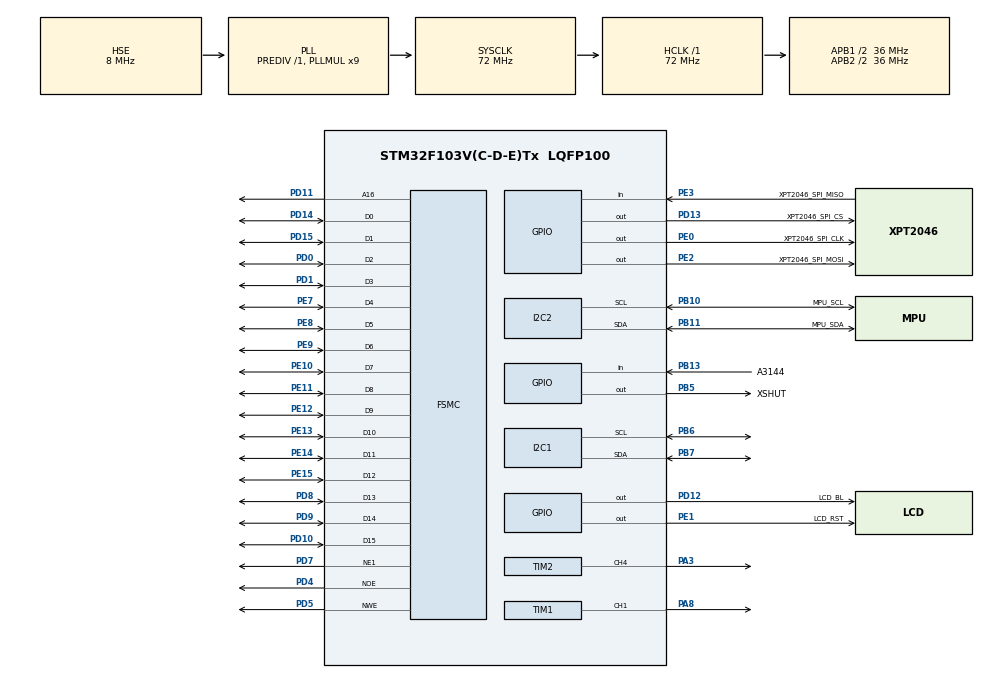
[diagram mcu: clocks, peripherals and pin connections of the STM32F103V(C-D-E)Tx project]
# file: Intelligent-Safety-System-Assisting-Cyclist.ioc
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Dma.Request0=TIM1_CH1
Dma.Request1=TIM2_CH2/CH4
Dma.TIM1_CH1.0.Direction=DMA_MEMORY_TO_PERIPH
Dma.TIM1_CH1.0.Instance=DMA1_Channel2
Dma.TIM1_CH1.0.MemDataAlignment=DMA_MDATAALIGN_HALFWORD
Dma.TIM1_CH1.0.MemInc=DMA_MINC_ENABLE
Dma.TIM1_CH1.0.Mode=DMA_NORMAL
Dma.TIM1_CH1.0.PeriphDataAlignment=DMA_PDATAALIGN_HALFWORD
Dma.TIM1_CH1.0.PeriphInc=DMA_PINC_DISABLE
Dma.TIM1_CH1.0.Priority=DMA_PRIORITY_LOW
Dma.TIM2_CH2/CH4.1.Direction=DMA_MEMORY_TO_PERIPH
Dma.TIM2_CH2/CH4.1.Instance=DMA1_Channel7
Dma.TIM2_CH2/CH4.1.MemDataAlignment=DMA_MDATAALIGN_HALFWORD
Dma.TIM2_CH2/CH4.1.MemInc=DMA_MINC_ENABLE
Dma.TIM2_CH2/CH4.1.Mode=DMA_NORMAL
Dma.TIM2_CH2/CH4.1.PeriphDataAlignment=DMA_PDATAALIGN_HALFWORD
Dma.TIM2_CH2/CH4.1.PeriphInc=DMA_PINC_DISABLE
Dma.TIM2_CH2/CH4.1.Priority=DMA_PRIORITY_LOW
FSMC.AddressSetupTime1=0
FSMC.BusTurnAroundDuration1=0
FSMC.DataSetupTime1=26
FSMC.ExtendedAddressSetupTime1=0
FSMC.ExtendedBusTurnAroundDuration1=0
FSMC.ExtendedDataSetupTime1=1
FSMC.ExtendedMode1=FSMC_EXTENDED_MODE_ENABLE
Mcu.Family=STM32F1
Mcu.Name=STM32F103V(C-D-E)Tx
Mcu.Package=LQFP100
NVIC.DMA1_Channel2_IRQn=true\:0\:0\:false\:false\:true\:false\:true\:true
NVIC.DMA1_Channel7_IRQn=true\:0\:0\:false\:false\:true\:false\:true\:true
NVIC.PriorityGroup=NVIC_PRIORITYGROUP_4
NVIC.TIM3_IRQn=true\:0\:0\:false\:false\:true\:true\:true\:true
OSC_IN.Mode=HSE-External-Oscillator
OSC_IN.Signal=RCC_OSC_IN
OSC_OUT.Mode=HSE-External-Oscillator
OSC_OUT.Signal=RCC_OSC_OUT
PA13.Mode=Serial_Wire
PA13.Signal=SYS_JTMS-SWDIO
PA14.Mode=Serial_Wire
PA14.Signal=SYS_JTCK-SWCLK
PA3.GPIO_ModeDefaultPP=GPIO_MODE_AF_PP
PA3.GPIO_Speed=GPIO_SPEED_FREQ_HIGH
PA3.Signal=S_TIM2_CH4
PA8.Signal=S_TIM1_CH1
PB10.GPIO_Label=MPU_SCL
PB10.Mode=I2C
PB10.Signal=I2C2_SCL
PB11.GPIO_Label=MPU_SDA
PB11.Mode=I2C
PB11.Signal=I2C2_SDA
PB13.GPIO_Label=A3144
PB13.Signal=GPIO_Input
PB5.GPIO_Label=XSHUT
PB5.GPIO_Speed=GPIO_SPEED_FREQ_LOW
PB5.Signal=GPIO_Output
PB6.Mode=I2C
PB6.Signal=I2C1_SCL
PB7.Mode=I2C
PB7.Signal=I2C1_SDA
PC14-OSC32_IN.Mode=LSE-External-Oscillator
PC14-OSC32_IN.Signal=RCC_OSC32_IN
PC15-OSC32_OUT.Mode=LSE-External-Oscillator
PC15-OSC32_OUT.Signal=RCC_OSC32_OUT
PD0.Mode=16b-d1
PD0.Signal=FSMC_D2
PD1.Mode=16b-d1
PD1.Signal=FSMC_D3
PD10.Mode=16b-d1
PD10.Signal=FSMC_D15
PD11.Mode=A16_1
PD11.Signal=FSMC_A16
PD12.GPIO_Label=LCD_BL
PD12.GPIO_Speed=GPIO_SPEED_FREQ_HIGH
PD12.Signal=GPIO_Output
PD13.GPIO_Label=XPT2046_SPI_CS
PD13.GPIO_Speed=GPIO_SPEED_FREQ_HIGH
PD13.Signal=GPIO_Output
PD14.Mode=16b-d1
PD14.Signal=FSMC_D0
PD15.Mode=16b-d1
PD15.Signal=FSMC_D1
PD4.Mode=Lcd1
PD4.Signal=FSMC_NOE
PD5.Mode=Lcd1
PD5.Signal=FSMC_NWE
PD7.Mode=NorPsramChipSelect1_1
PD7.Signal=FSMC_NE1
PD8.Mode=16b-d1
PD8.Signal=FSMC_D13
PD9.Mode=16b-d1
PD9.Signal=FSMC_D14
PE0.GPIO_Label=XPT2046_SPI_CLK
PE0.GPIO_Speed=GPIO_SPEED_FREQ_HIGH
PE0.PinState=GPIO_PIN_SET
PE0.Signal=GPIO_Output
PE1.GPIO_Label=LCD_RST
PE1.GPIO_Speed=GPIO_SPEED_FREQ_HIGH
PE1.Signal=GPIO_Output
PE10.Mode=16b-d1
PE10.Signal=FSMC_D7
PE11.Mode=16b-d1
PE11.Signal=FSMC_D8
PE12.Mode=16b-d1
PE12.Signal=FSMC_D9
PE13.Mode=16b-d1
PE13.Signal=FSMC_D10
PE14.Mode=16b-d1
PE14.Signal=FSMC_D11
PE15.Mode=16b-d1
PE15.Signal=FSMC_D12
PE2.GPIO_Label=XPT2046_SPI_MOSI
PE2.GPIO_Speed=GPIO_SPEED_FREQ_HIGH
PE2.Signal=GPIO_Output
PE3.GPIO_Label=XPT2046_SPI_MISO
PE3.GPIO_PuPd=GPIO_PULLUP
PE3.Signal=GPIO_Input
PE7.Mode=16b-d1
PE7.Signal=FSMC_D4
PE8.Mode=16b-d1
PE8.Signal=FSMC_D5
PE9.Mode=16b-d1
PE9.Signal=FSMC_D6
ProjectManager.HeapSize=0x200
ProjectManager.StackSize=0x400
ProjectManager.TargetToolchain=STM32CubeIDE
RCC.AHBFreq_Value=72000000
RCC.APB1CLKDivider=RCC_HCLK_DIV2
RCC.APB1Freq_Value=36000000
RCC.APB1TimFreq_Value=72000000
RCC.APB2CLKDivider=RCC_HCLK_DIV2
RCC.APB2Freq_Value=36000000
RCC.APB2TimFreq_Value=72000000
RCC.HCLKFreq_Value=72000000
RCC.PLLMUL=RCC_PLL_MUL9
RCC.PLLSourceVirtual=RCC_PLLSOURCE_HSE
RCC.SYSCLKFreq_VALUE=72000000
RCC.SYSCLKSource=RCC_SYSCLKSOURCE_PLLCLK
RCC.USBFreq_Value=72000000
SH.S_TIM1_CH1.0=TIM1_CH1,PWM Generation1 CH1
SH.S_TIM2_CH4.0=TIM2_CH4,PWM Generation4 CH4
TIM1.Channel-PWM\ Generation1\ CH1=TIM_CHANNEL_1
TIM1.Period=72-1
TIM2.Channel-PWM\ Generation4\ CH4=TIM_CHANNEL_4
TIM2.OCFastMode_PWM-PWM\ Generation4\ CH4=TIM_OCFAST_ENABLE
TIM2.Period=89
TIM3.AutoReloadPreload=TIM_AUTORELOAD_PRELOAD_ENABLE
TIM3.Period=999
TIM3.Prescaler=71
VP_TIM1_VS_ClockSourceINT.Mode=Internal
VP_TIM2_VS_ClockSourceINT.Mode=Internal
VP_TIM3_VS_ClockSourceINT.Mode=Internal
board=custom

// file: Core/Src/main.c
/* USER CODE BEGIN Header */
/**
  ******************************************************************************
  * @file           : main.c
  * @brief          : Main program body
  ******************************************************************************
  * @attention
  *
  * Copyright (c) 2022 STMicroelectronics.
  * All rights reserved.
  *
  * This software is licensed under terms that can be found in the LICENSE file
  * in the root directory of this software component.
  * If no LICENSE file comes with this software, it is provided AS-IS.
  *
  ******************************************************************************
  */
/* USER CODE END Header */
#include "main.h"

/* USER CODE BEGIN Includes */
#include "lcdtp.h"
#include "xpt2046.h"

#include "math.h"
#include <stdio.h>
#include "stdbool.h"

#include "MPU6050.h"
#include "a3144.h"
#include "vl53l1_api.h"

/* USER CODE END Includes */

 I2C_HandleTypeDef hi2c1;
I2C_HandleTypeDef hi2c2;

TIM_HandleTypeDef htim1;
TIM_HandleTypeDef htim2;
TIM_HandleTypeDef htim3;
DMA_HandleTypeDef hdma_tim1_ch1;
DMA_HandleTypeDef hdma_tim2_ch2_ch4;

SRAM_HandleTypeDef hsram1;

/* USER CODE BEGIN PV */
//#define EXPANDER_1_ADDR 0x84 // 0x42 << 1
//#define EXPANDER_2_ADDR 0x86 // 0x43 << 1HAL_I2C_Master_Transmit
/* USER CODE END PV */

void SystemClock_Config(void);
static void MX_GPIO_Init(void);
static void MX_FSMC_Init(void);
static void MX_DMA_Init(void);
static void MX_I2C2_Init(void);
static void MX_TIM1_Init(void);
static void MX_TIM3_Init(void);
static void MX_I2C1_Init(void);
static void MX_TIM2_Init(void);

/* USER CODE BEGIN 0 */

// LED Parameters:
#define MAX_LED 14
#define USE_BRIGHTNESS 0

uint8_t LED_Data[MAX_LED][4];
uint8_t LED_Mod[MAX_LED][4];  // for brightness

int datasentflag=0;

// :ED Function callbacks

void HAL_TIM_PWM_PulseFinishedCallback(TIM_HandleTypeDef *htim)
{
	HAL_TIM_PWM_Stop_DMA(&htim2, TIM_CHANNEL_4);
	datasentflag=1;
}

void Set_LED (int LEDnum, int Red, int Green, int Blue)
{
	LED_Data[LEDnum][0] = LEDnum;
	LED_Data[LEDnum][1] = Green;
	LED_Data[LEDnum][2] = Red;
	LED_Data[LEDnum][3] = Blue;
}

#define PI 3.14159265

void Set_Brightness (int brightness)  // 0-45
{
#if USE_BRIGHTNESS

	if (brightness > 45) brightness = 45;
	for (int i=0; i<MAX_LED; i++)
	{
		LED_Mod[i][0] = LED_Data[i][0];
		for (int j=1; j<4; j++)
		{
			float angle = 90-brightness;  // in degrees
			angle = angle*PI / 180;  // in rad
			LED_Mod[i][j] = (LED_Data[i][j])/(tan(angle));
		}
	}

#endif

}

uint16_t pwmData[(24*MAX_LED)+50];

void WS2812_Send (void)
{
	uint32_t indx=0;
	uint32_t color;

	for (int i= 0; i<MAX_LED; i++)
	{
#if USE_BRIGHTNESS
		color = ((LED_Mod[i][1]<<16) | (LED_Mod[i][2]<<8) | (LED_Mod[i][3]));
#else
		color = ((LED_Data[i][1]<<16) | (LED_Data[i][2]<<8) | (LED_Data[i][3]));
#endif

		for (int i=23; i>=0; i--)
		{
			if (color&(1<<i))
			{
				pwmData[indx] = 60;  // 2/3 of 90
			}

			else pwmData[indx] = 30;  // 1/3 of 90

			indx++;
		}

	}

	for (int i=0; i<50; i++)
	{
		pwmData[indx] = 0;
		indx++;
	}

	HAL_TIM_PWM_Start_DMA(&htim2, TIM_CHANNEL_4, (uint32_t *)pwmData, indx);
	while (!datasentflag){};
	datasentflag = 0;
}

void Reset_LED (void)
{
	for (int i=0; i<MAX_LED; i++)
	{
		LED_Data[i][0] = i;
		LED_Data[i][1] = 0;
		LED_Data[i][2] = 0;
		LED_Data[i][3] = 0;
	}
}

uint16_t effStep = 0;

void setTailligght (int light, int R, int G, int B, int bright){
	  // Tail light
	  Set_LED(light, R, G, B);
	  Set_Brightness(bright);
	  WS2812_Send();
	  HAL_Delay(10);
	  // Tail light
}

// End LED

//void HAL_GPIO_EXTI_Callback(uint16_t GPIO_Pin)
//{
//	if (GPIO_Pin==VL53L1X_INT_Pin)
//	{
//		IntCount++;
//	}
//}
/* USER CODE END 0 */

int main(void)
{
  /* USER CODE BEGIN 1 */
	// VL53L1X variable references
	uint8_t buff[50];
	VL53L1_RangingMeasurementData_t RangingData;
	VL53L1_Dev_t  vl53l1_c; // center module
	VL53L1_DEV    Dev = &vl53l1_c;

  /* USER CODE END 1 */

  /* MCU Configuration--------------------------------------------------------*/

  /* Reset of all peripherals, Initializes the Flash interface and the Systick. */
  HAL_Init();

  /* Configure the system clock */
  SystemClock_Config();

  /* Initialize all configured peripherals */
  MX_GPIO_Init();
  MX_FSMC_Init();
  MX_DMA_Init();
  MX_I2C2_Init();
  MX_TIM1_Init();
  MX_TIM3_Init();
  MX_I2C1_Init();
  MX_TIM2_Init();
  /* USER CODE BEGIN 2 */

  // LCD Screen init
  LCD_INIT();

  // Init VL53L1X ToF
  Dev->I2cHandle = &hi2c2;
  Dev->I2cDevAddr = 0x52;

  HAL_GPIO_WritePin(XSHUT_GPIO_Port, XSHUT_Pin, GPIO_PIN_RESET);
  HAL_Delay(2); // 2ms reset time
  HAL_GPIO_WritePin(XSHUT_GPIO_Port, XSHUT_Pin, GPIO_PIN_SET);
  HAL_Delay(2);

  //  /*-[ I2C Bus Scanning ]-*/
      uint8_t i=0, ret;
      char text[100];
      for(i=1; i<128; i++)
      {
          ret = HAL_I2C_IsDeviceReady(&hi2c2, (uint16_t)(i<<1), 3, 5);
          if (ret != HAL_OK) /* No ACK Received At That Address */
          {
        	  LCD_DrawString(105, 125, "Loading........");
        	  Delay(10000);
        	  //println(&huart1,text);
          }
          else if(ret == HAL_OK)
          {
        	  sprintf(text, "Address: %x", i << 1);
        	  if (i == 0x40){
        		  LCD_DrawString(105, 125, "VL53L1X ToF port");
        	  }
        	  if (i == 103){
        		  LCD_DrawString(105, 125, "MPU6050     port");
        	  }
        	  LCD_DrawString(85, 125, text);
        	  Delay(10000000);
          }
      }

      Delay(10000);
//  /*** Initialize GPIO expanders ***/
////  // Unused GPIO should be configured as outputs to minimize the power consumption
//  buff[0] = 0x14; // GPDR (GPIO set direction register)
//  buff[1] = 0xFF; // GPIO_0 - GPIO_7
//  buff[2] = 0xFF; // GPIO_8 - GPIO_15
//  HAL_I2C_Master_Transmit( &hi2c1, EXPANDER_1_ADDR, buff, 3, 0xFFFF );
//  HAL_I2C_Master_Transmit( &hi2c1, EXPANDER_2_ADDR, buff, 3, 0xFFFF );
//
//  // clear XSHUT (disable center module) -> expander 1, GPIO_15
//  buff[0] = 0x13; // GPSR + 1 ( GPIO set pin state register)
//  HAL_I2C_Master_Transmit( &hi2c1, EXPANDER_1_ADDR, buff, 1, 0xFFFF );
//  HAL_I2C_Master_Receive( &hi2c1, EXPANDER_1_ADDR, buff, 1, 0xFFFF );
//  buff[1] = buff[0] & ~( 1 << ( 15 - 8 ) ); // clear GPIO_15
//  buff[0] = 0x13; // GPSR + 1 ( GPIO set pin state register)
//  HAL_I2C_Master_Transmit( &hi2c1, EXPANDER_1_ADDR, buff, 2, 0xFFFF );
//
//  HAL_Delay( 2 ); // 2ms reset time
//
//  // set XSHUT (enable center module) -> expander 1, GPIO_15
//  buff[0] = 0x13; // GPSR + 1 ( GPIO set pin state)
//  HAL_I2C_Master_Transmit( &hi2c1, EXPANDER_1_ADDR, buff, 1, 0xFFFF );
//  HAL_I2C_Master_Receive( &hi2c1, EXPANDER_1_ADDR, buff, 1, 0xFFFF );
//  buff[1] = buff[0] | ( 1 << ( 15 - 8 ) ); // set GPIO_15
//  buff[0] = 0x13; // GPSR + 1 ( GPIO set pin state register)
//  HAL_I2C_Master_Transmit( &hi2c1, EXPANDER_1_ADDR, buff, 2, 0xFFFF );

  HAL_Delay( 2 );
  VL53L1_WaitDeviceBooted( Dev );
  VL53L1_DataInit( Dev );
  VL53L1_StaticInit( Dev );
  VL53L1_SetDistanceMode( Dev, VL53L1_DISTANCEMODE_LONG );
  VL53L1_SetMeasurementTimingBudgetMicroSeconds( Dev, 50000 );
  VL53L1_SetInterMeasurementPeriodMilliSeconds( Dev, 500 );
  VL53L1_StartMeasurement( Dev );

  // End VL53L1X init

  // MPU6050 Init

  MPU6050_Initialize(&hi2c2);
  MPU6050_SetScaleAccelRange(&hi2c2, MPU6050_ACCEL_RANGE_8_G);
  MPU6050_SetScaleGyroRange(&hi2c2, MPU6050_GYRO_RANGE_2000_DEG);

  // MPU6050 Init end

  macXPT2046_CS_DISABLE();
//  __HAL_RCC_I2C2_CLK_DISABLE();
//  __HAL_RCC_FSMC_CLK_ENABLE();

//  LCD_INIT();

   Delay(100000);

  LCD_Clear (50, 80, 140, 70, RED);
  LCD_DrawString(65, 105, "  ISSAC  DEMO ");
  HAL_Delay(1000);

  //Touchscreen calibration

  while( ! XPT2046_Touch_Calibrate () );

  LCD_GramScan ( 1 );
  LCD_Clear ( 0, 0, 240, 320, WHITE );
  LCD_Clear ( 90,  282,  60, 60, BLUE	);
  LCD_Clear ( 0,  282,  95, 38,  YELLOW);
  LCD_Clear ( 150,  282,  95, 38, YELLOW);
 // LCD_DrawString(20, 280, "Turn Left");

  //Button UI
  LCD_DrawString_Color (35, 285, "<---", YELLOW, BLACK );
  LCD_DrawString_Color (170, 285, "--->", YELLOW, BLACK );

  LCD_DrawEllipse ( 120, 100, 40, 20, RED);
  char buf[9];
//  char text[10];

  // MPU variables
  float Ax, Ay, Az;
//  float Gx, Gy, Gz;

  strType_XPT2046_Coordinate touchCoordinate[4];
  int touchFlag = 0;
  int SafetyStatus = 0;	// 0: Save, 1: Caution, 2: Response needed, 3: Danger

  /*
   * Init of RPM Counter with timer and A3144 Hall effect sensor
   * */
  a3144_Init();
  float rotSpeed = 0;
  float rpm = 0;
  float tempSpeed = 0;
  int Rangecount = 0;

  // Reset Previus Tail lights
  Reset_LED();
  WS2812_Send();
  /* USER CODE END 2 */

  /* Infinite loop */
  while (1)
  {

    /* USER CODE BEGIN 3 */
	  MPU6050_Read_Gyro(&hi2c2);
	  MPU6050_Read_Accel(&hi2c2);

	  Ax = MPU6050_Ax;
	  Ay = MPU6050_Ay;
	  Az = MPU6050_Az;

//	  Gx = MPU6050_Gx;
//	  Gy = MPU6050_Gy;
//	  Gz = MPU6050_Gz;

	  if (Ay < -0.4){
	 		  LCD_DrawString(80, 140, "Pitch Down");
	 	  } else if (Ay > 0.4){
	 		  LCD_DrawString(80, 140, " Pitch up ");
	 	  } else{
	 		  LCD_DrawString(80, 140, "No Pitch  ");
	 	  }

	 	  if (Ax < -0.5){
	 		  LCD_DrawString(90, 160, " Right ");
	 	  } else if (Ax > 0.5){
	 		  LCD_DrawString(90, 160, " Left ");
	 	  }	else{
	 		  LCD_DrawString(90, 160, " Still ");
	 	  }

	 	  if (Az < 0) {
	 		  LCD_DrawString_Color(90, 180, " Crash?? ", RED, BLACK);
	 		  for (int i =0; i < 14; i++){
	 			 setTailligght(i, 255, 0, 0, 10);
	 		  }
	 		  SafetyStatus = 2;
	 	  }

	 	  HAL_Delay(200);

	 	  if ( touchFlag == 0 )
	 	  {
	 		  if ( XPT2046_Get_TouchedPoint ( & touchCoordinate, & strXPT2046_TouchPara ) )
	 		  {
	 			  if ( ( touchCoordinate->y > 282 ) && ( touchCoordinate->y < 400) )
	 			  {
	 				  if ( ( touchCoordinate->x > 95 ) && ( touchCoordinate->x < 145 ) )
	 				  {
	 					  LCD_DrawString(71, 200, "     Reset    ");
	 					  SafetyStatus = 0;
	 					  LCD_Clear(90, 180, 90, 20, WHITE);
	 					  LCD_Clear(70, 200, 90, 20, WHITE);
	 					  Reset_LED();
	 					  WS2812_Send();
	 					  Rangecount = 0;
	 				  }

	 				  if (touchCoordinate->x < 90)
	 				  {
	 					  SafetyStatus = 1;
	 					  LCD_DrawString(71, 200, "Turning Left! ");
	 					  setTailligght(0, 255, 255, 0, 10);
	 					  setTailligght(1, 255, 255, 0, 10);
	 					  setTailligght(2, 255, 255, 0, 10);
	 				  }

	 				  if (touchCoordinate->x > 150)
	 				  {
	 					  SafetyStatus = 1;
	 					  LCD_DrawString(71, 200, "Turning Right!");
	 					  setTailligght(11, 255, 255, 0, 10);
	 					  setTailligght(12, 255, 255, 0, 10);
	 					  setTailligght(13, 255, 255, 0, 10);
	 				  }
	 			  }

	 		  }
	 		  touchFlag = 1;
	 	  }
	 	  else {
	 //		  LCD_DrawString(70, 200, "..............");
	 		  touchFlag = 0;
	 	  }
	 	  HAL_Delay(50);

		  rpm = GetRotationSpeed(); // RPM not speed
		  if (rpm < 1){
			  rpm = 0;
		  }
		  sprintf(buf, "%0.2f RPM", rpm);
		  LCD_DrawString(90, 90, buf);

		  rotSpeed = rpm * 0.737 * 3.14 / 60;
		  sprintf(buf, "%0.2f m/s", rotSpeed);
		  LCD_DrawString(90, 120, buf);

		  if (tempSpeed > rotSpeed * 0.6){
			  setTailligght(4, 255, 0, 0, 10);
			  setTailligght(5, 255, 0, 0, 10);
			  setTailligght(6, 255, 0, 0, 10);
			  setTailligght(7, 255, 0, 0, 10);
			  setTailligght(8, 255, 0, 0, 10);
			  setTailligght(9, 255, 0, 0, 10);
			  setTailligght(10, 255, 0, 0, 10);
		  }
		  else {
			  setTailligght(4, 0, 0, 0, 1);
			  setTailligght(5, 0, 0, 0, 1);
			  setTailligght(6, 0, 0, 0, 1);
			  setTailligght(7, 0, 0, 0, 1);
			  setTailligght(8, 0, 0, 0, 1);
			  setTailligght(9, 0, 0, 0, 1);
			  setTailligght(10, 0, 0, 0, 1);
		  }

		  tempSpeed = rotSpeed;

		  // Get Distance Sensor Data
		  VL53L1_WaitMeasurementDataReady( Dev );

		  VL53L1_GetRangingMeasurementData( Dev, &RangingData );

		  if(RangingData.RangeMilliMeter < 2000){
			  Rangecount++;
			  if(Rangecount == 3){
				  LCD_DrawString_Color (80, 200, "REAR ALERT!!", RED, BLACK );
				  Rangecount = 0;
			  }
		  }
		  else if(RangingData.RangeMilliMeter > 2000){
			  Rangecount = 0;
		  }

		  VL53L1_ClearInterruptAndStartMeasurement( Dev );
  }

  /* USER CODE END 3 */
}

void SystemClock_Config(void)
{
  RCC_OscInitTypeDef RCC_OscInitStruct = {0};
  RCC_ClkInitTypeDef RCC_ClkInitStruct = {0};

  /** Initializes the RCC Oscillators according to the specified parameters
  * in the RCC_OscInitTypeDef structure.
  */
  RCC_OscInitStruct.OscillatorType = RCC_OSCILLATORTYPE_HSE;
  RCC_OscInitStruct.HSEState = RCC_HSE_ON;
  RCC_OscInitStruct.HSEPredivValue = RCC_HSE_PREDIV_DIV1;
  RCC_OscInitStruct.HSIState = RCC_HSI_ON;
  RCC_OscInitStruct.PLL.PLLState = RCC_PLL_ON;
  RCC_OscInitStruct.PLL.PLLSource = RCC_PLLSOURCE_HSE;
  RCC_OscInitStruct.PLL.PLLMUL = RCC_PLL_MUL9;
  if (HAL_RCC_OscConfig(&RCC_OscInitStruct) != HAL_OK)
  {
    Error_Handler();
  }

  /** Initializes the CPU, AHB and APB buses clocks
  */
  RCC_ClkInitStruct.ClockType = RCC_CLOCKTYPE_HCLK|RCC_CLOCKTYPE_SYSCLK
                              |RCC_CLOCKTYPE_PCLK1|RCC_CLOCKTYPE_PCLK2;
  RCC_ClkInitStruct.SYSCLKSource = RCC_SYSCLKSOURCE_PLLCLK;
  RCC_ClkInitStruct.AHBCLKDivider = RCC_SYSCLK_DIV1;
  RCC_ClkInitStruct.APB1CLKDivider = RCC_HCLK_DIV2;
  RCC_ClkInitStruct.APB2CLKDivider = RCC_HCLK_DIV2;

  if (HAL_RCC_ClockConfig(&RCC_ClkInitStruct, FLASH_LATENCY_2) != HAL_OK)
  {
    Error_Handler();
  }
}

static void MX_I2C1_Init(void)
{

  hi2c1.Instance = I2C1;
  hi2c1.Init.ClockSpeed = 100000;
  hi2c1.Init.DutyCycle = I2C_DUTYCYCLE_2;
  hi2c1.Init.OwnAddress1 = 0;
  hi2c1.Init.AddressingMode = I2C_ADDRESSINGMODE_7BIT;
  hi2c1.Init.DualAddressMode = I2C_DUALADDRESS_DISABLE;
  hi2c1.Init.OwnAddress2 = 0;
  hi2c1.Init.GeneralCallMode = I2C_GENERALCALL_DISABLE;
  hi2c1.Init.NoStretchMode = I2C_NOSTRETCH_DISABLE;
  if (HAL_I2C_Init(&hi2c1) != HAL_OK)
  {
    Error_Handler();
  }

}

static void MX_I2C2_Init(void)
{

  hi2c2.Instance = I2C2;
  hi2c2.Init.ClockSpeed = 100000;
  hi2c2.Init.DutyCycle = I2C_DUTYCYCLE_2;
  hi2c2.Init.OwnAddress1 = 0;
  hi2c2.Init.AddressingMode = I2C_ADDRESSINGMODE_7BIT;
  hi2c2.Init.DualAddressMode = I2C_DUALADDRESS_DISABLE;
  hi2c2.Init.OwnAddress2 = 0;
  hi2c2.Init.GeneralCallMode = I2C_GENERALCALL_DISABLE;
  hi2c2.Init.NoStretchMode = I2C_NOSTRETCH_DISABLE;
  if (HAL_I2C_Init(&hi2c2) != HAL_OK)
  {
    Error_Handler();
  }

}

static void MX_TIM1_Init(void)
{

  TIM_ClockConfigTypeDef sClockSourceConfig = {0};
  TIM_MasterConfigTypeDef sMasterConfig = {0};
  TIM_OC_InitTypeDef sConfigOC = {0};
  TIM_BreakDeadTimeConfigTypeDef sBreakDeadTimeConfig = {0};

  htim1.Instance = TIM1;
  htim1.Init.Prescaler = 0;
  htim1.Init.CounterMode = TIM_COUNTERMODE_UP;
  htim1.Init.Period = 72-1;
  htim1.Init.ClockDivision = TIM_CLOCKDIVISION_DIV1;
  htim1.Init.RepetitionCounter = 0;
  htim1.Init.AutoReloadPreload = TIM_AUTORELOAD_PRELOAD_DISABLE;
  if (HAL_TIM_Base_Init(&htim1) != HAL_OK)
  {
    Error_Handler();
  }
  sClockSourceConfig.ClockSource = TIM_CLOCKSOURCE_INTERNAL;
  if (HAL_TIM_ConfigClockSource(&htim1, &sClockSourceConfig) != HAL_OK)
  {
    Error_Handler();
  }
  if (HAL_TIM_PWM_Init(&htim1) != HAL_OK)
  {
    Error_Handler();
  }
  sMasterConfig.MasterOutputTrigger = TIM_TRGO_RESET;
  sMasterConfig.MasterSlaveMode = TIM_MASTERSLAVEMODE_DISABLE;
  if (HAL_TIMEx_MasterConfigSynchronization(&htim1, &sMasterConfig) != HAL_OK)
  {
    Error_Handler();
  }
  sConfigOC.OCMode = TIM_OCMODE_PWM1;
  sConfigOC.Pulse = 0;
  sConfigOC.OCPolarity = TIM_OCPOLARITY_HIGH;
  sConfigOC.OCNPolarity = TIM_OCNPOLARITY_HIGH;
  sConfigOC.OCFastMode = TIM_OCFAST_DISABLE;
  sConfigOC.OCIdleState = TIM_OCIDLESTATE_RESET;
  sConfigOC.OCNIdleState = TIM_OCNIDLESTATE_RESET;
  if (HAL_TIM_PWM_ConfigChannel(&htim1, &sConfigOC, TIM_CHANNEL_1) != HAL_OK)
  {
    Error_Handler();
  }
  sBreakDeadTimeConfig.OffStateRunMode = TIM_OSSR_DISABLE;
  sBreakDeadTimeConfig.OffStateIDLEMode = TIM_OSSI_DISABLE;
  sBreakDeadTimeConfig.LockLevel = TIM_LOCKLEVEL_OFF;
  sBreakDeadTimeConfig.DeadTime = 0;
  sBreakDeadTimeConfig.BreakState = TIM_BREAK_DISABLE;
  sBreakDeadTimeConfig.BreakPolarity = TIM_BREAKPOLARITY_HIGH;
  sBreakDeadTimeConfig.AutomaticOutput = TIM_AUTOMATICOUTPUT_DISABLE;
  if (HAL_TIMEx_ConfigBreakDeadTime(&htim1, &sBreakDeadTimeConfig) != HAL_OK)
  {
    Error_Handler();
  }
  HAL_TIM_MspPostInit(&htim1);

}

static void MX_TIM2_Init(void)
{

  TIM_ClockConfigTypeDef sClockSourceConfig = {0};
  TIM_MasterConfigTypeDef sMasterConfig = {0};
  TIM_OC_InitTypeDef sConfigOC = {0};

  htim2.Instance = TIM2;
  htim2.Init.Prescaler = 0;
  htim2.Init.CounterMode = TIM_COUNTERMODE_UP;
  htim2.Init.Period = 89;
  htim2.Init.ClockDivision = TIM_CLOCKDIVISION_DIV1;
  htim2.Init.AutoReloadPreload = TIM_AUTORELOAD_PRELOAD_DISABLE;
  if (HAL_TIM_Base_Init(&htim2) != HAL_OK)
  {
    Error_Handler();
  }
  sClockSourceConfig.ClockSource = TIM_CLOCKSOURCE_INTERNAL;
  if (HAL_TIM_ConfigClockSource(&htim2, &sClockSourceConfig) != HAL_OK)
  {
    Error_Handler();
  }
  if (HAL_TIM_PWM_Init(&htim2) != HAL_OK)
  {
    Error_Handler();
  }
  sMasterConfig.MasterOutputTrigger = TIM_TRGO_RESET;
  sMasterConfig.MasterSlaveMode = TIM_MASTERSLAVEMODE_DISABLE;
  if (HAL_TIMEx_MasterConfigSynchronization(&htim2, &sMasterConfig) != HAL_OK)
  {
    Error_Handler();
  }
  sConfigOC.OCMode = TIM_OCMODE_PWM1;
  sConfigOC.Pulse = 0;
  sConfigOC.OCPolarity = TIM_OCPOLARITY_HIGH;
  sConfigOC.OCFastMode = TIM_OCFAST_ENABLE;
  if (HAL_TIM_PWM_ConfigChannel(&htim2, &sConfigOC, TIM_CHANNEL_4) != HAL_OK)
  {
    Error_Handler();
  }
  HAL_TIM_MspPostInit(&htim2);

}

static void MX_TIM3_Init(void)
{

  TIM_ClockConfigTypeDef sClockSourceConfig = {0};
  TIM_MasterConfigTypeDef sMasterConfig = {0};

  htim3.Instance = TIM3;
  htim3.Init.Prescaler = 71;
  htim3.Init.CounterMode = TIM_COUNTERMODE_UP;
  htim3.Init.Period = 999;
  htim3.Init.ClockDivision = TIM_CLOCKDIVISION_DIV1;
  htim3.Init.AutoReloadPreload = TIM_AUTORELOAD_PRELOAD_ENABLE;
  if (HAL_TIM_Base_Init(&htim3) != HAL_OK)
  {
    Error_Handler();
  }
  sClockSourceConfig.ClockSource = TIM_CLOCKSOURCE_INTERNAL;
  if (HAL_TIM_ConfigClockSource(&htim3, &sClockSourceConfig) != HAL_OK)
  {
    Error_Handler();
  }
  sMasterConfig.MasterOutputTrigger = TIM_TRGO_RESET;
  sMasterConfig.MasterSlaveMode = TIM_MASTERSLAVEMODE_DISABLE;
  if (HAL_TIMEx_MasterConfigSynchronization(&htim3, &sMasterConfig) != HAL_OK)
  {
    Error_Handler();
  }

}

static void MX_DMA_Init(void)
{

  /* DMA controller clock enable */
  __HAL_RCC_DMA1_CLK_ENABLE();

  /* DMA interrupt init */
  /* DMA1_Channel2_IRQn interrupt configuration */
  HAL_NVIC_SetPriority(DMA1_Channel2_IRQn, 0, 0);
  HAL_NVIC_EnableIRQ(DMA1_Channel2_IRQn);
  /* DMA1_Channel7_IRQn interrupt configuration */
  HAL_NVIC_SetPriority(DMA1_Channel7_IRQn, 0, 0);
  HAL_NVIC_EnableIRQ(DMA1_Channel7_IRQn);

}

static void MX_GPIO_Init(void)
{
  GPIO_InitTypeDef GPIO_InitStruct = {0};

  /* GPIO Ports Clock Enable */
  __HAL_RCC_GPIOE_CLK_ENABLE();
  __HAL_RCC_GPIOC_CLK_ENABLE();
  __HAL_RCC_GPIOA_CLK_ENABLE();
  __HAL_RCC_GPIOB_CLK_ENABLE();
  __HAL_RCC_GPIOD_CLK_ENABLE();

  /*Configure GPIO pin Output Level */
  HAL_GPIO_WritePin(GPIOE, XPT2046_SPI_MOSI_Pin|LCD_RST_Pin, GPIO_PIN_RESET);

  /*Configure GPIO pin Output Level */
  HAL_GPIO_WritePin(GPIOD, LCD_BL_Pin|XPT2046_SPI_CS_Pin, GPIO_PIN_RESET);

  /*Configure GPIO pin Output Level */
  HAL_GPIO_WritePin(XSHUT_GPIO_Port, XSHUT_Pin, GPIO_PIN_RESET);

  /*Configure GPIO pin Output Level */
  HAL_GPIO_WritePin(XPT2046_SPI_CLK_GPIO_Port, XPT2046_SPI_CLK_Pin, GPIO_PIN_SET);

  /*Configure GPIO pins : XPT2046_SPI_MOSI_Pin XPT2046_SPI_CLK_Pin LCD_RST_Pin */
  GPIO_InitStruct.Pin = XPT2046_SPI_MOSI_Pin|XPT2046_SPI_CLK_Pin|LCD_RST_Pin;
  GPIO_InitStruct.Mode = GPIO_MODE_OUTPUT_PP;
  GPIO_InitStruct.Pull = GPIO_NOPULL;
  GPIO_InitStruct.Speed = GPIO_SPEED_FREQ_HIGH;
  HAL_GPIO_Init(GPIOE, &GPIO_InitStruct);

  /*Configure GPIO pin : XPT2046_SPI_MISO_Pin */
  GPIO_InitStruct.Pin = XPT2046_SPI_MISO_Pin;
  GPIO_InitStruct.Mode = GPIO_MODE_INPUT;
  GPIO_InitStruct.Pull = GPIO_PULLUP;
  HAL_GPIO_Init(XPT2046_SPI_MISO_GPIO_Port, &GPIO_InitStruct);

  /*Configure GPIO pin : A3144_Pin */
  GPIO_InitStruct.Pin = A3144_Pin;
  GPIO_InitStruct.Mode = GPIO_MODE_INPUT;
  GPIO_InitStruct.Pull = GPIO_NOPULL;
  HAL_GPIO_Init(A3144_GPIO_Port, &GPIO_InitStruct);

  /*Configure GPIO pins : LCD_BL_Pin XPT2046_SPI_CS_Pin */
  GPIO_InitStruct.Pin = LCD_BL_Pin|XPT2046_SPI_CS_Pin;
  GPIO_InitStruct.Mode = GPIO_MODE_OUTPUT_PP;
  GPIO_InitStruct.Pull = GPIO_NOPULL;
  GPIO_InitStruct.Speed = GPIO_SPEED_FREQ_HIGH;
  HAL_GPIO_Init(GPIOD, &GPIO_InitStruct);

  /*Configure GPIO pin : XSHUT_Pin */
  GPIO_InitStruct.Pin = XSHUT_Pin;
  GPIO_InitStruct.Mode = GPIO_MODE_OUTPUT_PP;
  GPIO_InitStruct.Pull = GPIO_NOPULL;
  GPIO_InitStruct.Speed = GPIO_SPEED_FREQ_LOW;
  HAL_GPIO_Init(XSHUT_GPIO_Port, &GPIO_InitStruct);

}

/* FSMC initialization function */
static void MX_FSMC_Init(void)
{

  FSMC_NORSRAM_TimingTypeDef Timing = {0};
  FSMC_NORSRAM_TimingTypeDef ExtTiming = {0};

  /** Perform the SRAM1 memory initialization sequence
  */
  hsram1.Instance = FSMC_NORSRAM_DEVICE;
  hsram1.Extended = FSMC_NORSRAM_EXTENDED_DEVICE;
  /* hsram1.Init */
  hsram1.Init.NSBank = FSMC_NORSRAM_BANK1;
  hsram1.Init.DataAddressMux = FSMC_DATA_ADDRESS_MUX_DISABLE;
  hsram1.Init.MemoryType = FSMC_MEMORY_TYPE_SRAM;
  hsram1.Init.MemoryDataWidth = FSMC_NORSRAM_MEM_BUS_WIDTH_16;
  hsram1.Init.BurstAccessMode = FSMC_BURST_ACCESS_MODE_DISABLE;
  hsram1.Init.WaitSignalPolarity = FSMC_WAIT_SIGNAL_POLARITY_LOW;
  hsram1.Init.WrapMode = FSMC_WRAP_MODE_DISABLE;
  hsram1.Init.WaitSignalActive = FSMC_WAIT_TIMING_BEFORE_WS;
  hsram1.Init.WriteOperation = FSMC_WRITE_OPERATION_ENABLE;
  hsram1.Init.WaitSignal = FSMC_WAIT_SIGNAL_DISABLE;
  hsram1.Init.ExtendedMode = FSMC_EXTENDED_MODE_ENABLE;
  hsram1.Init.AsynchronousWait = FSMC_ASYNCHRONOUS_WAIT_DISABLE;
  hsram1.Init.WriteBurst = FSMC_WRITE_BURST_DISABLE;
  /* Timing */
  Timing.AddressSetupTime = 0;
  Timing.AddressHoldTime = 15;
  Timing.DataSetupTime = 26;
  Timing.BusTurnAroundDuration = 0;
  Timing.CLKDivision = 16;
  Timing.DataLatency = 17;
  Timing.AccessMode = FSMC_ACCESS_MODE_A;
  /* ExtTiming */
  ExtTiming.AddressSetupTime = 0;
  ExtTiming.AddressHoldTime = 15;
  ExtTiming.DataSetupTime = 1;
  ExtTiming.BusTurnAroundDuration = 0;
  ExtTiming.CLKDivision = 16;
  ExtTiming.DataLatency = 17;
  ExtTiming.AccessMode = FSMC_ACCESS_MODE_A;

  if (HAL_SRAM_Init(&hsram1, &Timing, &ExtTiming) != HAL_OK)
  {
    Error_Handler( );
  }

  /** Disconnect NADV
  */

  __HAL_AFIO_FSMCNADV_DISCONNECTED();

}

void Error_Handler(void)
{
  __disable_irq();
  while (1)
  {
  }
}
